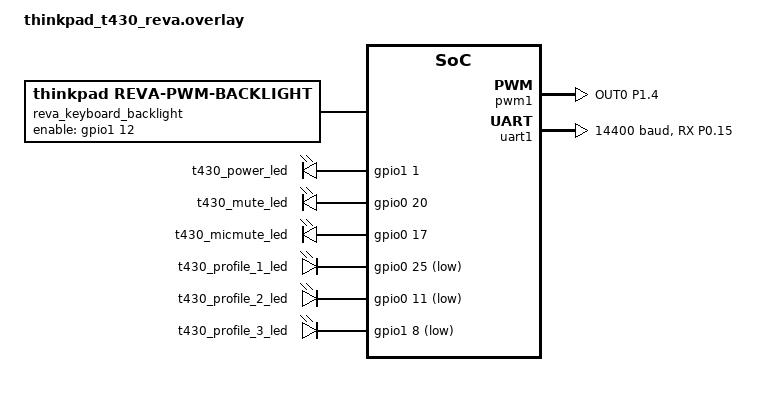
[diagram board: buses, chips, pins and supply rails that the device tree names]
/*
 * ThinkPad T430 Revision A on the Holyiot 18010 nRF52840 module.
 *
 * SPDX-License-Identifier: MIT
 */

#define THINKPAD_T430_NO_DK_RECOVERY
#include "../thinkpad_t430/thinkpad_t430.overlay"

/ {
    chosen {
        zmk,backlight = &reva_keyboard_backlight;
    };

    reva_keyboard_backlight: reva_keyboard_backlight {
        compatible = "thinkpad,reva-pwm-backlight";
        enable-gpios = <&gpio1 12 GPIO_ACTIVE_HIGH>;
        startup-delay-ms = <35>;

        pwm_led_0 {
            pwms = <&pwm1 0 PWM_USEC(1000) PWM_POLARITY_NORMAL>;
        };
    };
};

&kscan_matrix {
    row-gpios =
        <&gpio1 3 (GPIO_ACTIVE_LOW | GPIO_OPEN_DRAIN)>,
        <&gpio0 19 (GPIO_ACTIVE_LOW | GPIO_OPEN_DRAIN)>,
        <&gpio1 9 (GPIO_ACTIVE_LOW | GPIO_OPEN_DRAIN)>,
        <&gpio0 31 (GPIO_ACTIVE_LOW | GPIO_OPEN_DRAIN)>,
        <&gpio1 10 (GPIO_ACTIVE_LOW | GPIO_OPEN_DRAIN)>,
        <&gpio1 15 (GPIO_ACTIVE_LOW | GPIO_OPEN_DRAIN)>,
        <&gpio0 29 (GPIO_ACTIVE_LOW | GPIO_OPEN_DRAIN)>,
        <&gpio0 5 (GPIO_ACTIVE_LOW | GPIO_OPEN_DRAIN)>,
        <&gpio0 2 (GPIO_ACTIVE_LOW | GPIO_OPEN_DRAIN)>,
        <&gpio1 0 (GPIO_ACTIVE_LOW | GPIO_OPEN_DRAIN)>,
        <&gpio0 23 (GPIO_ACTIVE_LOW | GPIO_OPEN_DRAIN)>,
        <&gpio1 2 (GPIO_ACTIVE_LOW | GPIO_OPEN_DRAIN)>,
        <&gpio1 7 (GPIO_ACTIVE_LOW | GPIO_OPEN_DRAIN)>,
        <&gpio0 24 (GPIO_ACTIVE_LOW | GPIO_OPEN_DRAIN)>,
        <&gpio1 6 (GPIO_ACTIVE_LOW | GPIO_OPEN_DRAIN)>,
        <&gpio1 5 (GPIO_ACTIVE_LOW | GPIO_OPEN_DRAIN)>;

    col-gpios =
        <&gpio0 3 (GPIO_ACTIVE_LOW | GPIO_PULL_UP)>,
        <&gpio0 7 (GPIO_ACTIVE_LOW | GPIO_PULL_UP)>,
        <&gpio0 30 (GPIO_ACTIVE_LOW | GPIO_PULL_UP)>,
        <&gpio0 28 (GPIO_ACTIVE_LOW | GPIO_PULL_UP)>,
        <&gpio0 4 (GPIO_ACTIVE_LOW | GPIO_PULL_UP)>,
        <&gpio1 13 (GPIO_ACTIVE_LOW | GPIO_PULL_UP)>,
        <&gpio0 12 (GPIO_ACTIVE_LOW | GPIO_PULL_UP)>,
        <&gpio0 21 (GPIO_ACTIVE_LOW | GPIO_PULL_UP)>;
};

&kscan_direct {
    input-gpios =
        <&gpio1 11 (GPIO_ACTIVE_LOW | GPIO_PULL_UP)>,
        <&gpio0 22 (GPIO_ACTIVE_LOW | GPIO_PULL_UP)>;
};

&t430_power_led { gpios = <&gpio1 1 GPIO_ACTIVE_HIGH>; };
&t430_mute_led { gpios = <&gpio0 20 GPIO_ACTIVE_HIGH>; };
&t430_micmute_led { gpios = <&gpio0 17 GPIO_ACTIVE_HIGH>; };
&t430_profile_1_led { gpios = <&gpio0 25 GPIO_ACTIVE_LOW>; };
&t430_profile_2_led { gpios = <&gpio0 11 GPIO_ACTIVE_LOW>; };
&t430_profile_3_led { gpios = <&gpio1 8 GPIO_ACTIVE_LOW>; };

&trackpoint {
    rst-gpios = <&gpio0 13 GPIO_ACTIVE_LOW>;
};

&keyboard_backlight {
    status = "disabled";
};

&pinctrl {
    pwm1_keyboard_reva_default: pwm1_keyboard_reva_default {
        group1 {
            psels = <NRF_PSEL(PWM_OUT0, 1, 4)>;
        };
    };

    pwm1_keyboard_reva_sleep: pwm1_keyboard_reva_sleep {
        group1 {
            psels = <NRF_PSEL(PWM_OUT0, 1, 4)>;
            low-power-enable;
        };
    };

    uart1_trackpoint_reva_default: uart1_trackpoint_reva_default {
        group1 {
            psels = <NRF_PSEL_DISCONNECTED(UART_TX)>,
                    <NRF_PSEL(UART_RX, 0, 15)>;
            bias-pull-up;
        };
    };

    uart1_trackpoint_reva_sleep: uart1_trackpoint_reva_sleep {
        group1 {
            psels = <NRF_PSEL_DISCONNECTED(UART_TX)>,
                    <NRF_PSEL_DISCONNECTED(UART_RX)>;
        };
    };
};

&pwm1 {
    status = "okay";
    pinctrl-0 = <&pwm1_keyboard_reva_default>;
    pinctrl-1 = <&pwm1_keyboard_reva_sleep>;
    pinctrl-names = "default", "sleep";
};

&uart0 {
    status = "disabled";
};

&uart1 {
    status = "okay";
    current-speed = <14400>;
    pinctrl-0 = <&uart1_trackpoint_reva_default>;
    pinctrl-1 = <&uart1_trackpoint_reva_sleep>;
    pinctrl-names = "default", "sleep";
};

&trackpoint_ps2 {
    scl-gpios = <&gpio0 14 (GPIO_ACTIVE_HIGH | GPIO_PULL_UP)>;
    sda-gpios = <&gpio0 15 (GPIO_ACTIVE_HIGH | GPIO_PULL_UP)>;
};
